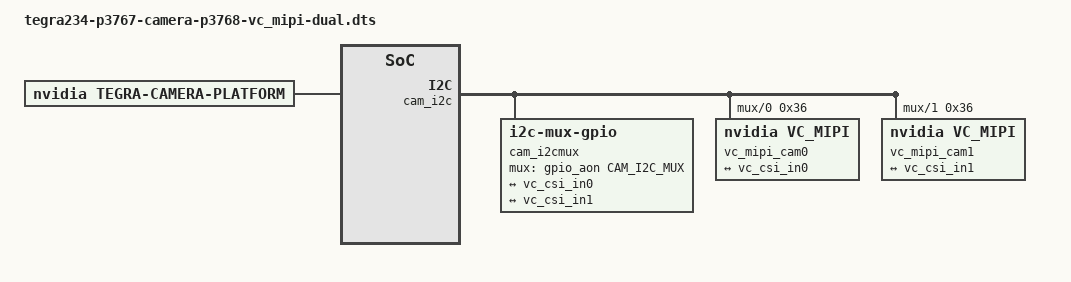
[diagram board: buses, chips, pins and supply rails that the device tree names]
// SPDX-License-Identifier: GPL-2.0-only
// SPDX-FileCopyrightText: Copyright (c) 2023, NVIDIA CORPORATION & AFFILIATES. All rights reserved.

/dts-v1/;
/plugin/;

#include <dt-bindings/tegra234-p3767-0000-common.h>

#include <dt-bindings/clock/tegra234-clock.h>
#include <dt-bindings/gpio/tegra234-gpio.h>

#define CAM0_PWDN	TEGRA234_MAIN_GPIO(H, 6)
#define CAM1_PWDN	TEGRA234_MAIN_GPIO(AC, 0)
#define CAM_I2C_MUX	TEGRA234_AON_GPIO(CC, 3)

// ------------------------------------------------------------------------------------------------
//  Driver Configuration for NVIDIA Jetson Orin Nano/Orin NX on NVIDIA Jetson Orin Nano Developer Kit
// ------------------------------------------------------------------------------------------------
#define VC_MIPI_CAM_0       1   // 1: Enabled, 0: Disabled  (serial_b => CSI Port 1 => VI Stream 0)
#define VC_MIPI_CAM_1       1   // 1: Enabled, 0: Disabled  (serial_c => CSI Port 2 => VI Stream 2)
// ------------------------------------------------------------------------------------------------
//  Supported number of lanes
// -----+------------------------------------------------------------------------------------------
//  1   | OV7251, IMX296, IMX297
//  2   | OV9281, IMX264, IMX265
//  2,4 | IMX178, IMX183, IMX226, IMX250, IMX252, IMX273, IMX290, IMX327, IMX335, IMX392, 
//      | IMX412, IMX415, IMX462, IMX540, IMX565, IMX566, IMX567, IMX568, IMX585, IMX900, AR2020
// -----+------------------------------------------------------------------------------------------
#define VC_MIPI_LANES       4   // // CAMO: 1, 2 Lanes, CAM1: 1, 2, 4 Lanes
// ------------------------------------------------------------------------------------------------
//  Embedded Metadata Height
// -----+------------------------------------------------------------------------------------------
//  0   | IMX178, IMX183, IMX226, IMX250, IMX252, IMX264, IMX265, IMX273, IMX392, IMX540, 
//      | OV7251, OV9281, AR2020
//  1   | IMX290, IMX327, IMX335, IMX415, IMX462, IMX565, IMX566, IMX567, IMX568, IMX900
//  2   | IMX296, IMX297, IMX412, IMX585
// -----+------------------------------------------------------------------------------------------
#define VC_MIPI_METADATA_H  "0" // "0", "1", "2" Lines of meta data
// ------------------------------------------------------------------------------------------------
//   Sensor Manufacturer
// -----+------------------------------------------------------------------------------------------
//   1  | Sony Sensor (IMX)         0x1a
//   2  | Omni Vision Sensor (OV)   0x60
//   3  | Onsemi Sensor (AR2020)    0x36
// -----+------------------------------------------------------------------------------------------
#define VC_MIPI_MANUFACTURER 3
// ------------------------------------------------------------------------------------------------
//  GStreamer Support
// ------------------------------------------------------------------------------------------------
//  If you want to use GStreamer with nvarguscamerasrc you have to adjust this settings in the 
//  device tree below. The sections which have to be modified are marked by a comment. 
//  To find the correct parameter values please follow the instruction in the main README.md of 
//  this repository https://github.com/VC-MIPI-modules/vc_mipi_nvidia#gstreamer-support
// ------------------------------------------------------------------------------------------------

#if VC_MIPI_LANES == 1
        #define BUS_WIDTH 1
        #define NUM_LANES "1" 
        #define NUM_CSI_LANES 2
        #define PIX_CLK_HZ "150000000"
#endif
#if VC_MIPI_LANES == 2
        #define BUS_WIDTH 2
        #define NUM_LANES "2" 
        #define NUM_CSI_LANES 4
        #define PIX_CLK_HZ "300000000"
#endif
#if VC_MIPI_LANES == 4
        #define BUS_WIDTH 4
        #define NUM_LANES "4" 
        #define NUM_CSI_LANES 8
        #define PIX_CLK_HZ "600000000"
#endif

// ------------------------------------------------------------------------------------------------
//  Enabling/disabling a camera
// ------------------------------------------------------------------------------------------------
//  All VI ports, NVCSI channels, I2C mux channels and sensor nodes always stay in the device tree
//  and num-channels is always 2. A camera is switched off by status = "disabled" in its VI
//  endpoint (no VI channel, no /dev/videoN) and in its sensor node (no driver probe).
//  Reason (nvidia-oot l4t-r36.5):
//    - NVCSI csi_parse_dt() needs channel@0 .. channel@(num-channels - 1) and ignores status.
//    - VI rejects a port whose reg is >= num-channels ("wrong channel number").
//    - VI tegra_vi_graph_init() skips endpoints and remotes that are disabled.
//  Do not disable the mux channels i2c@0/i2c@1: i2c-mux-gpio only registers available channels,
//  which would change the I2C bus numbers used in devname.
// ------------------------------------------------------------------------------------------------
#if VC_MIPI_CAM_0 == 1
        #define VC_CAM0_STATUS  "okay"
#else
        #define VC_CAM0_STATUS  "disabled"
#endif
#if VC_MIPI_CAM_1 == 1
        #define VC_CAM1_STATUS  "okay"
#else
        #define VC_CAM1_STATUS  "disabled"
#endif

#define BUS_WIDTH_2 2
#define NUM_LANES_2 "2" 

#if VC_MIPI_MANUFACTURER == 1
        #define VC_SEN_ADDR     0x1a
        #define VC_SEN_NODE     vc_mipi@1a
        #define VC_DEVNAME_0    "vc_mipi 10-001a"
        #define VC_DEVNAME_1    "vc_mipi 9-001a"
        #define VC_SYSFS_0      "/sys/firmware/devicetree/base/bus@0/cam_i2cmux/i2c@0/vc_mipi@1a"
        #define VC_SYSFS_1      "/sys/firmware/devicetree/base/bus@0/cam_i2cmux/i2c@1/vc_mipi@1a"
#elif VC_MIPI_MANUFACTURER == 2
        #define VC_SEN_ADDR     0x60
        #define VC_SEN_NODE     vc_mipi@60
        #define VC_DEVNAME_0    "vc_mipi 10-0060"
        #define VC_DEVNAME_1    "vc_mipi 9-0060"
        #define VC_SYSFS_0      "/sys/firmware/devicetree/base/bus@0/cam_i2cmux/i2c@0/vc_mipi@60"
        #define VC_SYSFS_1      "/sys/firmware/devicetree/base/bus@0/cam_i2cmux/i2c@1/vc_mipi@60"
#elif VC_MIPI_MANUFACTURER == 3
        #define VC_SEN_ADDR     0x36
        #define VC_SEN_NODE     vc_mipi@36
        #define VC_DEVNAME_0    "vc_mipi 10-0036"
        #define VC_DEVNAME_1    "vc_mipi 9-0036"
        #define VC_SYSFS_0      "/sys/firmware/devicetree/base/bus@0/cam_i2cmux/i2c@0/vc_mipi@36"
        #define VC_SYSFS_1      "/sys/firmware/devicetree/base/bus@0/cam_i2cmux/i2c@1/vc_mipi@36"
#else
        #error "VC_MIPI_MANUFACTURER must be 1 (Sony), 2 (OmniVision) or 3 (Onsemi)"
#endif

/ {
        overlay-name = "Camera VCMIPI Dual";
        jetson-header-name = "Jetson 24pin CSI Connector";
        compatible = JETSON_COMPATIBLE_P3768;

        fragment@0 {
                target-path = "/";
                __overlay__ {
                        tegra-capture-vi  {
                                num-channels = <2>;
                                ports {
                                        #address-cells = <1>;
                                        #size-cells = <0>;
                                        vc_vi_port0: port@0 {
                                                reg = <0>;
                                                vc_vi_in0: endpoint {
                                                        status = VC_CAM0_STATUS;
                                                        port-index = <1>;
                                                        bus-width = <BUS_WIDTH_2>;
                                                        remote-endpoint = <&vc_csi_out0>;
                                                };
                                        };
                                        vc_vi_port1: port@1 {
                                                reg = <1>;
                                                vc_vi_in1: endpoint {
                                                        status = VC_CAM1_STATUS;
                                                        port-index = <2>;
                                                        bus-width = <BUS_WIDTH>;
                                                        remote-endpoint = <&vc_csi_out1>;
                                                };
                                        };
                                }; // ports
                        };
                        tegra-camera-platform {
                                compatible = "nvidia, tegra-camera-platform";

                                num_csi_lanes = <NUM_CSI_LANES>;
                                max_lane_speed = <1500000>;
                                min_bits_per_pixel = <10>;
                                vi_peak_byte_per_pixel = <2>;
                                vi_bw_margin_pct = <25>;
                                max_pixel_rate = <750000>;
                                isp_peak_byte_per_pixel = <5>;
                                isp_bw_margin_pct = <25>;

                                modules {
#if VC_MIPI_CAM_0 == 1
                                        cam_module0: module0 {
                                                badge = "jakku_front_vc_mipi";
                                                position = "front";
                                                orientation = "1";

                                                cam_module0_drivernode0: drivernode0 {
                                                        pcl_id = "v4l2_sensor";
                                                        devname = VC_DEVNAME_0;
                                                        sysfs-device-tree = VC_SYSFS_0;
                                                };

                                                cam_module0_drivernode1: drivernode1 {
                                                        pcl_id = "v4l2_lens";
                                                        sysfs-device-tree = "/sys/firmware/devicetree/base/bus@0/lens@vc_mipi";
                                                };
                                        };
#endif // VC_MIPI_CAM_0

#if VC_MIPI_CAM_1 == 1
                                        cam_module1: module1 {
                                                badge = "jakku_rear_vc_mipi";
                                                position = "rear";
                                                orientation = "1";

                                                cam_module1_drivernode0: drivernode0 {
                                                        pcl_id = "v4l2_sensor";
                                                        devname = VC_DEVNAME_1;
                                                        sysfs-device-tree = VC_SYSFS_1;
                                                };

                                                cam_module1_drivernode1: drivernode1 {
                                                        pcl_id = "v4l2_lens";
                                                        sysfs-device-tree = "/sys/firmware/devicetree/base/bus@0/lens@vc_mipi/";
                                                };
                                        };
#endif // VC_MIPI_CAM_1
                                };
                        };
                        bus@0 {
                                host1x@13e00000 {
                                        nvcsi@15a00000 {
                                                num-channels = <2>;
                                                #address-cells = <1>;
                                                #size-cells = <0>;

                                                vc_csi_chan0: channel@0 {
                                                        reg = <0>;
                                                        ports {
                                                                #address-cells = <1>;
                                                                #size-cells = <0>;
                                                                vc_csi_chan0_port0: port@0 {
                                                                        reg = <0>;
                                                                        vc_csi_in0: endpoint@0 {
                                                                                port-index = <1>;
                                                                                bus-width = <BUS_WIDTH_2>;
                                                                                remote-endpoint = <&vc_mipi_out0>;
                                                                        };
                                                                };
                                                                vc_csi_chan0_port1: port@1 {
                                                                        reg = <1>;
                                                                        vc_csi_out0: endpoint@1 {
                                                                                remote-endpoint = <&vc_vi_in0>;
                                                                        };
                                                                };
                                                        };
                                                };
                                                vc_csi_chan1: channel@1 {
                                                        reg = <1>;
                                                        ports {
                                                                #address-cells = <1>;
                                                                #size-cells = <0>;
                                                                vc_csi_chan1_port0: port@0 {
                                                                        reg = <0>;
                                                                        vc_csi_in1: endpoint@2 {
                                                                                port-index = <2>;
                                                                                bus-width = <BUS_WIDTH>;
                                                                                remote-endpoint = <&vc_mipi_out1>;
                                                                        };
                                                                };
                                                                vc_csi_chan1_port1: port@1 {
                                                                        reg = <1>;
                                                                        vc_csi_out1: endpoint@3 {
                                                                                remote-endpoint = <&vc_vi_in1>;
                                                                        };
                                                                };
                                                        };
                                                };
                                        };
                                };

                                cam_i2cmux {
                                        status = "okay";
                                        compatible = "i2c-mux-gpio";
                                        #address-cells = <1>;
                                        #size-cells = <0>;
                                        mux-gpios = <&gpio_aon CAM_I2C_MUX GPIO_ACTIVE_HIGH>;
                                        i2c-parent = <&cam_i2c>;

                                        i2c@0 {
                                                status = "okay";
                                                reg = <0>;
                                                #address-cells = <1>;
                                                #size-cells = <0>;

                                                vc_mipi_cam0: VC_SEN_NODE {
                                                        status                  = VC_CAM0_STATUS;
                                                        reg                     = <VC_SEN_ADDR>;

                                                        compatible              = "nvidia,vc_mipi";
                                                        devnode                 = "video0";
                                                        use_sensor_mode_id      = "false";
                                                        sensor_model            = "vc_mipi";

                                                        trigger_mode            = "0";
                                                        io_mode                 = "0";

                                                        // ----------------------------------------------------
                                                        // If you want to use GStreamer with nvarguscamerasrc
                                                        // you have to adjust this settings
                                                        physical_w              = "7.168";
                                                        physical_h              = "5.376";
                                                        // ----------------------------------------------------
                                                        // This node is needed by the Tegra framework.
                                                        // You don't have to change any settings if just want 
                                                        // to use the V4L API.
                                                        mode0 {
                                                                num_lanes                = NUM_LANES_2;
                                                                tegra_sinterface         = "serial_b";
                                                                embedded_metadata_height = VC_MIPI_METADATA_H;
                                                                readout_orientation      = "0";
                                                                lane_polarity            = "6";

                                                                // ----------------------------------------------------
                                                                // If you want to use GStreamer with nvarguscamerasrc
                                                                // you have to adjust this settings. 
                                                                active_l                 = "0";
                                                                active_t                 = "0";
                                                                active_w                 = "5120";
                                                                active_h                 = "3840";
                                                                mode_type                = "bayer";
                                                                pixel_phase              = "grbg";
                                                                csi_pixel_bit_depth      = "10";

                                                                min_gain_val             = "0";         // mdB
                                                                max_gain_val             = "30000";     // mdB
                                                                step_gain_val            = "100";       // mdB
                                                                default_gain             = "0";         // mdB

                                                                min_exp_time             = "1";         // us
                                                                max_exp_time             = "1000000";   // us
                                                                step_exp_time            = "1";         // us
                                                                default_exp_time         = "10000";     // us

                                                                // For applications like argus_camera, there should 
                                                                // be a minimal frame rate greater than zero!
                                                                min_framerate            = "100";       // mHz
                                                                max_framerate            = "7900";     // mHz
                                                                step_framerate           = "100";       // mHz
                                                                default_framerate        = "7900";     // mHz
                                                                // ----------------------------------------------------

                                                                gain_factor              = "1000";
                                                                exposure_factor          = "1000000";
                                                                framerate_factor         = "1000";
                                                                inherent_gain            = "1";
                                                                min_hdr_ratio            = "1";
                                                                max_hdr_ratio            = "1";

                                                                line_length              = "0";
                                                                phy_mode                 = "DPHY";
                                                                discontinuous_clk        = "no";
                                                                mclk_khz                 = "24000";

                                                                pix_clk_hz               = "299200000";

                                                                mclk_multiplier          = "0.0";		// deprecated
                                                                cil_settletime           = "0";
                                                                dpcm_enable              = "false";

                                                                set_mode_delay_ms        = "100000";
                                                        };

                                                        mode1 {
                                                                num_lanes                = NUM_LANES_2;
                                                                tegra_sinterface         = "serial_b";
                                                                embedded_metadata_height = VC_MIPI_METADATA_H;
                                                                readout_orientation      = "0";
                                                                lane_polarity            = "6";

                                                                // ----------------------------------------------------
                                                                // If you want to use GStreamer with nvarguscamerasrc
                                                                // you have to adjust this settings. 
                                                                active_l                 = "0";
                                                                active_t                 = "0";
                                                                active_w                 = "5120";
                                                                active_h                 = "3840";
                                                                mode_type                = "bayer";
                                                                pixel_phase              = "grbg";
                                                                csi_pixel_bit_depth      = "12";

                                                                min_gain_val             = "0";         // mdB
                                                                max_gain_val             = "30000";     // mdB
                                                                step_gain_val            = "100";       // mdB
                                                                default_gain             = "0";         // mdB

                                                                min_exp_time             = "1";         // us
                                                                max_exp_time             = "1000000";   // us
                                                                step_exp_time            = "1";         // us
                                                                default_exp_time         = "10000";     // us

                                                                // For applications like argus_camera, there should 
                                                                // be a minimal frame rate greater than zero!
                                                                min_framerate            = "100";       // mHz
                                                                max_framerate            = "7900";     // mHz
                                                                step_framerate           = "100";       // mHz
                                                                default_framerate        = "7900";     // mHz
                                                                // ----------------------------------------------------

                                                                gain_factor              = "1000";
                                                                exposure_factor          = "1000000";
                                                                framerate_factor         = "1000";
                                                                inherent_gain            = "1";
                                                                min_hdr_ratio            = "1";
                                                                max_hdr_ratio            = "1";

                                                                line_length              = "0";
                                                                phy_mode                 = "DPHY";
                                                                discontinuous_clk        = "no";
                                                                mclk_khz                 = "24000";

//                                                                pix_clk_hz               = "249333333";
                                                                pix_clk_hz               = "250000000";

                                                                mclk_multiplier          = "0.0";		// deprecated
                                                                cil_settletime           = "0";
                                                                dpcm_enable              = "false";

                                                                set_mode_delay_ms        = "100000";
                                                        };

                                                        mode2 {
                                                                num_lanes                = NUM_LANES_2;
                                                                tegra_sinterface         = "serial_b";
                                                                embedded_metadata_height = VC_MIPI_METADATA_H;
                                                                readout_orientation      = "0";
                                                                lane_polarity            = "6";

                                                                // ----------------------------------------------------
                                                                // If you want to use GStreamer with nvarguscamerasrc
                                                                // you have to adjust this settings. 
                                                                active_l                 = "0";
                                                                active_t                 = "0";
                                                                active_w                 = "5120";
                                                                active_h                 = "3840";
                                                                mode_type                = "bayer";
                                                                pixel_phase              = "grbg";
                                                                csi_pixel_bit_depth      = "8";

                                                                min_gain_val             = "0";         // mdB
                                                                max_gain_val             = "30000";     // mdB
                                                                step_gain_val            = "100";       // mdB
                                                                default_gain             = "0";         // mdB

                                                                min_exp_time             = "1";         // us
                                                                max_exp_time             = "1000000";   // us
                                                                step_exp_time            = "1";         // us
                                                                default_exp_time         = "10000";     // us

                                                                // For applications like argus_camera, there should 
                                                                // be a minimal frame rate greater than zero!
                                                                min_framerate            = "100";       // mHz
                                                                max_framerate            = "7900";     // mHz
                                                                step_framerate           = "100";       // mHz
                                                                default_framerate        = "7900";     // mHz
                                                                // ----------------------------------------------------

                                                                gain_factor              = "1000";
                                                                exposure_factor          = "1000000";
                                                                framerate_factor         = "1000";
                                                                inherent_gain            = "1";
                                                                min_hdr_ratio            = "1";
                                                                max_hdr_ratio            = "1";

                                                                line_length              = "0";
                                                                phy_mode                 = "DPHY";
                                                                discontinuous_clk        = "no";
                                                                mclk_khz                 = "24000";

                                                                pix_clk_hz               = "374000000";

                                                                mclk_multiplier          = "0.0";		// deprecated
                                                                cil_settletime           = "0";
                                                                dpcm_enable              = "false";

                                                                set_mode_delay_ms        = "100000";
                                                        };

                                                        ports {
                                                                #address-cells = <1>;
                                                                #size-cells = <0>;
                                                                port@0 {
                                                                        reg = <0>;
                                                                        vc_mipi_out0: endpoint {
                                                                                port-index = <1>;
                                                                                bus-width = <BUS_WIDTH_2>;
                                                                                remote-endpoint = <&vc_csi_in0>;
                                                                        };
                                                                };
                                                        };
                                                };
                                        };

                                        i2c@1 {
                                                status = "okay";
                                                reg = <1>;
                                                #address-cells = <1>;
                                                #size-cells = <0>;

                                                vc_mipi_cam1: VC_SEN_NODE {
                                                        status                  = VC_CAM1_STATUS;
                                                        reg                     = <VC_SEN_ADDR>;

                                                        compatible              = "nvidia,vc_mipi";
                                                        devnode                 = "video1";
                                                        use_sensor_mode_id      = "false";
                                                        sensor_model            = "vc_mipi";

                                                        trigger_mode            = "0";
                                                        io_mode                 = "0";

                                                        // ----------------------------------------------------
                                                        // If you want to use GStreamer with nvarguscamerasrc
                                                        // you have to adjust this settings
                                                        physical_w              = "7.168";
                                                        physical_h              = "5.376";
                                                        // ----------------------------------------------------

                                                        mode0 {
                                                                num_lanes                = NUM_LANES;
                                                                tegra_sinterface         = "serial_c";
                                                                embedded_metadata_height = VC_MIPI_METADATA_H;
                                                                readout_orientation      = "0";
                                                                lane_polarity            = "0";

                                                                // ----------------------------------------------------
                                                                // If you want to use GStreamer with nvarguscamerasrc
                                                                // you have to adjust this settings. 
                                                                active_l                 = "0";
                                                                active_t                 = "0";
                                                                active_w                 = "5120";
                                                                active_h                 = "3840";
                                                                mode_type                = "bayer";
                                                                pixel_phase              = "grbg";
                                                                csi_pixel_bit_depth      = "10";

                                                                min_gain_val             = "0";         // mdB
                                                                max_gain_val             = "30000";     // mdB
                                                                step_gain_val            = "100";       // mdB
                                                                default_gain             = "0";         // mdB

                                                                min_exp_time             = "1";         // us
                                                                max_exp_time             = "1000000";   // us
                                                                step_exp_time            = "1";         // us
                                                                default_exp_time         = "10000";     // us

                                                                // For applications like argus_camera, there should 
                                                                // be a minimal frame rate greater than zero!
                                                                min_framerate            = "100";       // mHz
                                                                max_framerate            = "17700";     // mHz
                                                                step_framerate           = "100";       // mHz
                                                                default_framerate        = "17700";     // mHz
                                                                // ----------------------------------------------------

                                                                gain_factor              = "1000";
                                                                exposure_factor          = "1000000";
                                                                framerate_factor         = "1000";
                                                                inherent_gain            = "1";
                                                                min_hdr_ratio            = "1";
                                                                max_hdr_ratio            = "1";

                                                                line_length              = "0";
                                                                phy_mode                 = "DPHY";
                                                                discontinuous_clk        = "no";
                                                                mclk_khz                 = "24000";

                                                                pix_clk_hz               = "598400000";

                                                                mclk_multiplier          = "0.0";		// deprecated
                                                                cil_settletime           = "0";
                                                                dpcm_enable              = "false";

                                                                set_mode_delay_ms        = "100000";
                                                        };

                                                        mode1 {
                                                                num_lanes                = NUM_LANES;
                                                                tegra_sinterface         = "serial_c";
                                                                embedded_metadata_height = VC_MIPI_METADATA_H;
                                                                readout_orientation      = "0";
                                                                lane_polarity            = "0";

                                                                // ----------------------------------------------------
                                                                // If you want to use GStreamer with nvarguscamerasrc
                                                                // you have to adjust this settings. 
                                                                active_l                 = "0";
                                                                active_t                 = "0";
                                                                active_w                 = "5120";
                                                                active_h                 = "3840";
                                                                mode_type                = "bayer";
                                                                pixel_phase              = "grbg";
                                                                csi_pixel_bit_depth      = "12";

                                                                min_gain_val             = "0";         // mdB
                                                                max_gain_val             = "30000";     // mdB
                                                                step_gain_val            = "100";       // mdB
                                                                default_gain             = "0";         // mdB

                                                                min_exp_time             = "1";         // us
                                                                max_exp_time             = "1000000";   // us
                                                                step_exp_time            = "1";         // us
                                                                default_exp_time         = "10000";     // us

                                                                // For applications like argus_camera, there should 
                                                                // be a minimal frame rate greater than zero!
                                                                min_framerate            = "100";       // mHz
                                                                max_framerate            = "14000";     // mHz
                                                                step_framerate           = "100";       // mHz
                                                                default_framerate        = "14000";     // mHz
                                                                // ----------------------------------------------------

                                                                gain_factor              = "1000";
                                                                exposure_factor          = "1000000";
                                                                framerate_factor         = "1000";
                                                                inherent_gain            = "1";
                                                                min_hdr_ratio            = "1";
                                                                max_hdr_ratio            = "1";

                                                                line_length              = "0";
                                                                phy_mode                 = "DPHY";
                                                                discontinuous_clk        = "no";
                                                                mclk_khz                 = "24000";

//                                                                pix_clk_hz               = "498666666";
                                                                pix_clk_hz               = "500000000";

                                                                mclk_multiplier          = "0.0";		// deprecated
                                                                cil_settletime           = "0";
                                                                dpcm_enable              = "false";

                                                                set_mode_delay_ms        = "100000";
                                                        };

                                                        mode2 {
                                                                num_lanes                = NUM_LANES;
                                                                tegra_sinterface         = "serial_c";
                                                                embedded_metadata_height = VC_MIPI_METADATA_H;
                                                                readout_orientation      = "0";
                                                                lane_polarity            = "0";

                                                                // ----------------------------------------------------
                                                                // If you want to use GStreamer with nvarguscamerasrc
                                                                // you have to adjust this settings. 
                                                                active_l                 = "0";
                                                                active_t                 = "0";
                                                                active_w                 = "5120";
                                                                active_h                 = "3840";
                                                                mode_type                = "bayer";
                                                                pixel_phase              = "grbg";
                                                                csi_pixel_bit_depth      = "8";

                                                                min_gain_val             = "0";         // mdB
                                                                max_gain_val             = "30000";     // mdB
                                                                step_gain_val            = "100";       // mdB
                                                                default_gain             = "0";         // mdB

                                                                min_exp_time             = "1";         // us
                                                                max_exp_time             = "1000000";   // us
                                                                step_exp_time            = "1";         // us
                                                                default_exp_time         = "10000";     // us

                                                                // For applications like argus_camera, there should 
                                                                // be a minimal frame rate greater than zero!
                                                                min_framerate            = "100";       // mHz
                                                                max_framerate            = "17700";     // mHz
                                                                step_framerate           = "100";       // mHz
                                                                default_framerate        = "17700";     // mHz
                                                                // ----------------------------------------------------

                                                                gain_factor              = "1000";
                                                                exposure_factor          = "1000000";
                                                                framerate_factor         = "1000";
                                                                inherent_gain            = "1";
                                                                min_hdr_ratio            = "1";
                                                                max_hdr_ratio            = "1";

                                                                line_length              = "0";
                                                                phy_mode                 = "DPHY";
                                                                discontinuous_clk        = "no";
                                                                mclk_khz                 = "24000";

                                                                pix_clk_hz               = "748000000";

                                                                mclk_multiplier          = "0.0";		// deprecated
                                                                cil_settletime           = "0";
                                                                dpcm_enable              = "false";

                                                                set_mode_delay_ms        = "100000";
                                                        };

                                                        ports {
                                                                #address-cells = <1>;
                                                                #size-cells = <0>;
                                                                port@0 {
                                                                        reg = <0>;
                                                                        vc_mipi_out1: endpoint {
                                                                                port-index = <2>;
                                                                                bus-width = <BUS_WIDTH>;
                                                                                remote-endpoint = <&vc_csi_in1>;
                                                                        };
                                                                };
                                                        };
                                                };
                                        };

                                };

                                lens@vc_mipi {
                                        min_focus_distance  = "0.0";
                                        hyper_focal         = "0.0";
                                        focal_length        = "6.0";
                                        f_number            = "2.0";
                                        aperture            = "0.0";
                                };

                        };
                };
        };
};
